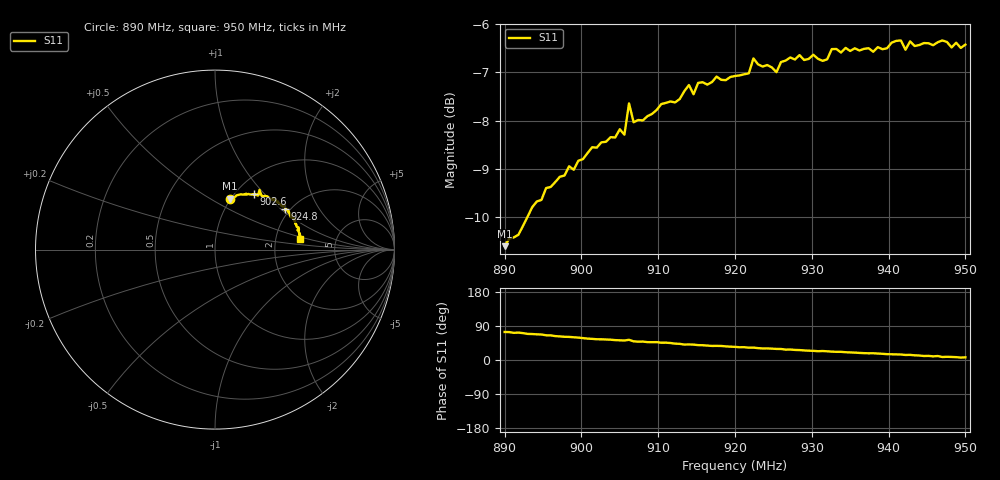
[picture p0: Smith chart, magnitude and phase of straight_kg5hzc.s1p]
# HZ S RI R 50
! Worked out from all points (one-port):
!   101 points, 890 MHz to 950 MHz, reference 50 ohm
!   lowest |S11| = -10.6 dB at 890 MHz (marker M1), VSWR 1.84, Z = 49.4 + j30.7 ohm
!   |S11| at or under -10 dB: start of sweep to 892.9731 MHz
!   S11 on the Smith chart (normalised r, x): 890 MHz: 0.99, +0.61; 902.6 MHz: 1.22, +0.87; 924.8 MHz: 1.89, +1.07; 950 MHz: 2.75, +0.42
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8.9e8  0.0816 0.2834
8.918e8  0.0923 0.2887
8.954e8  0.1421 0.3076
8.978e8  0.1677 0.3062
9.026e8  0.2189 0.3082
9.05e8  0.2405 0.307
9.056e8  0.24 0.301
9.062e8  0.2479 0.3326
9.068e8  0.2589 0.3004
9.11e8  0.2901 0.2973
9.128e8  0.3084 0.2839
9.14e8  0.327 0.2846
9.146e8  0.3219 0.276
9.152e8  0.3374 0.2757
9.2e8  0.3641 0.2522
9.218e8  0.376 0.2396
9.224e8  0.3887 0.2496
9.236e8  0.3905 0.2297
9.248e8  0.3916 0.2259
9.278e8  0.4121 0.2061
9.35e8  0.442 0.1605
9.416e8  0.4669 0.1205
9.422e8  0.459 0.1084
9.428e8  0.4677 0.1128
9.446e8  0.4711 0.0879
9.464e8  0.4722 0.0872
9.47e8  0.4776 0.0664
9.5e8  0.4738 0.0585
